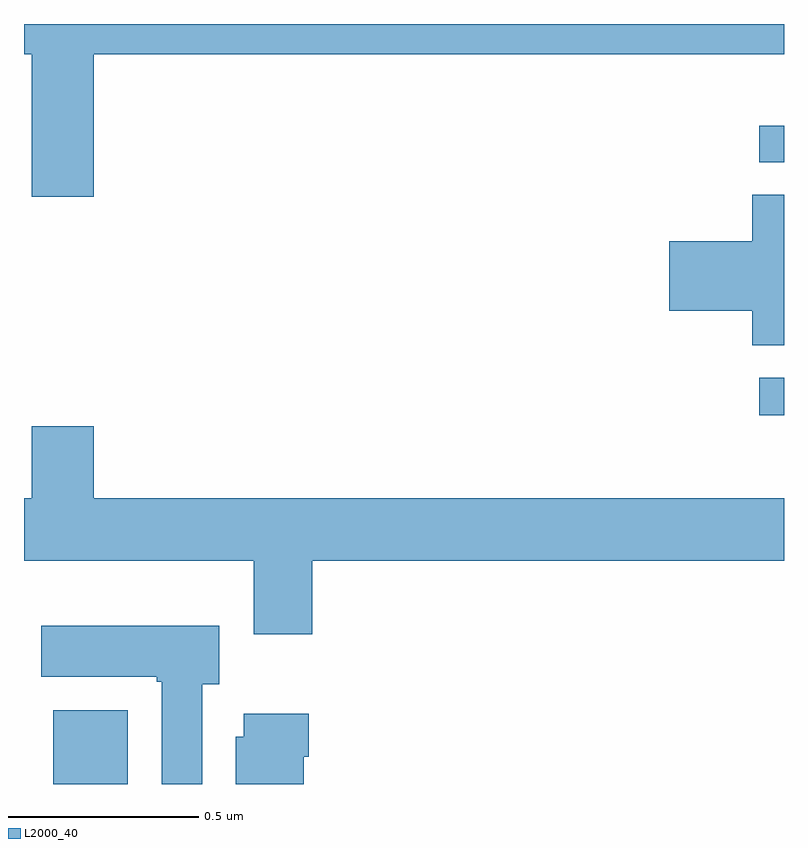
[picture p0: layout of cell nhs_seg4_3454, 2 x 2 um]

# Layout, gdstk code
import gdstk
lib = gdstk.Library(unit=1e-6, precision=1e-09)
def R(c, l, rs):  # rectangles x0, y0, x1, y1
    for r in rs: c.add(gdstk.rectangle(r[:2], r[2:], *l))
def P(c, l, *ps):  # polygons
    for p in ps: c.add(gdstk.Polygon(p, *l))
L2000_40 = (2000, 40)

nhs_seg4_3454 = lib.new_cell('nhs_seg4_3454')
R(nhs_seg4_3454, L2000_40, [(153.077,794.9,153.273,795.094), (154.935,795.871,155,795.969), (154.935,796.536,155,796.632)])
P(nhs_seg4_3454, L2000_40, [(153.184,796.82),(155,796.82),(155,796.9),(153,796.9),(153,796.82),(153.02,796.82),(153.02,796.446),(153.184,796.446)],
  [(155,796.451),(154.916,796.451),(154.916,796.328),(154.698,796.328),(154.698,796.145),(154.916,796.145),(154.916,796.054),(155,796.054)],
  [(153.758,795.488),(155,795.488),(155,795.652),(153.184,795.652),(153.184,795.841),(153.02,795.841),(153.02,795.652),(153,795.652),(153,795.488),(153.605,795.488),(153.605,795.294),(153.758,795.294)],
  [(153.469,795.162),(153.514,795.162),(153.514,795.316),(153.045,795.316),(153.045,795.182),(153.349,795.182),(153.349,795.169),(153.362,795.169),(153.362,794.9),(153.469,794.9)],
  [(153.736,794.972),(153.749,794.972),(153.749,795.085),(153.578,795.085),(153.578,795.024),(153.557,795.024),(153.557,794.9),(153.736,794.9)])

lib.write_gds('nhs_seg4_3454.gds')
